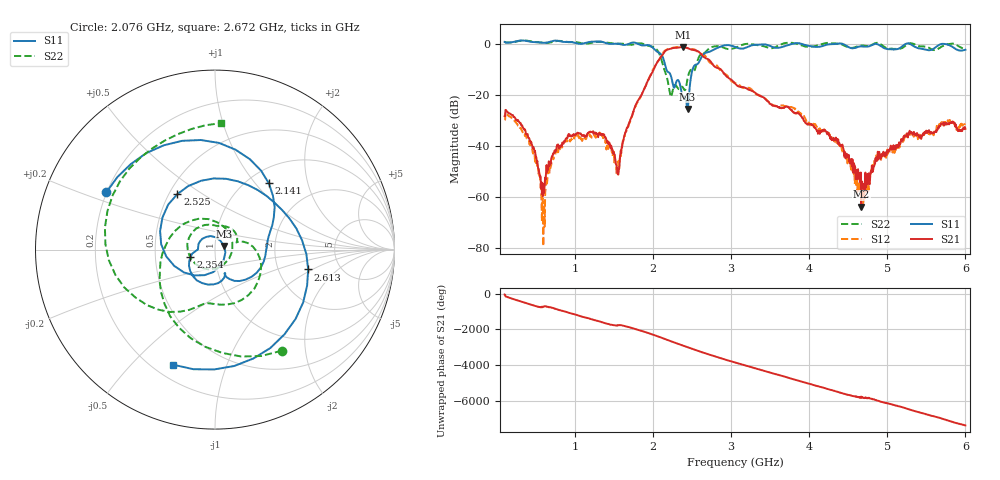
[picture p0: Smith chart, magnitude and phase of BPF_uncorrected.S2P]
!Created with skrf (http://scikit-rf.org).
# MHz S RI R 50.0
!freq ReS11 ImS11 ReS21 ImS21 ReS12 ImS12 ReS22 ImS22
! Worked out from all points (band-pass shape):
!   1001 points, 100 MHz to 6 GHz, reference 50 ohm
!   highest |S21| = -1.10 dB at 2.389 GHz (marker M1); lowest = -63.6 dB at 4.667 GHz (marker M2)
!   |S21| within 3 dB of the highest: 2.122 GHz to 2.622 GHz (500.1 MHz wide, 21.1 % of centre)
!   lowest |S11| = -25.4 dB at 2.442 GHz (marker M3), VSWR 1.11, Z = 55.2 + j2.3 ohm
!   |S11| at or under -10 dB: 2.174 GHz to 2.505 GHz (331.8 MHz wide, 14.2 % of centre)
!   |S22| runs from -20.6 to 1.5 dB; largest |S21 - S12| = 0.44
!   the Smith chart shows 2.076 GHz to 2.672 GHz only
!   S11 on the Smith chart (normalised r, x): 2.076 GHz: 0.20, +0.24; 2.141 GHz: 1.24, +1.18; 2.354 GHz: 0.76, -0.06; 2.525 GHz: 0.55, +0.40; 2.613 GHz: 2.95, -0.91; 2.672 GHz: 0.28, -0.66
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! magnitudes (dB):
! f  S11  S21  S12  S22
! 100 MHz  1.0  -28.1  -29.6  0.9
! 424.5 MHz  1.1  -37.9  -39.1  1.2
! 589.7 MHz  0.6  -59.5  -60.4  0.7
! 737.2 MHz  1.5  -41.9  -43.7  1.1
! 1.085 GHz  0.2  -35.6  -37.3  0.4
! 1.327 GHz  1.1  -35.5  -35.4  1.0
! 1.551 GHz  0.2  -51.0  -49.2  0.3
! 2.071 GHz  -3.2  -6.3  -6.4  -3.0
! 2.076 GHz  -3.3  -6.0  -6.1  -3.4
! 2.141 GHz  -6.5  -3.2  -2.8  -9.6
! 2.224 GHz  -11.9  -1.7  -1.5  -20.3
! 2.354 GHz  -16.9  -1.1  -1.0  -16.9
! 2.389 GHz  -20.5  -1.1  -1.1  -17.3
! 2.442 GHz  -25.4  -1.5  -1.5  -13.5
! 2.525 GHz  -8.6  -2.3  -1.9  -10.4
! 2.613 GHz  -5.5  -3.8  -3.7  -3.9
! 2.672 GHz  -3.3  -5.4  -4.7  -3.0
! 3.05 GHz  -1.0  -15.3  -15.1  -1.4
! 4.035 GHz  -0.8  -31.4  -31.2  -0.9
! 4.667 GHz  -0.8  -63.6  -57.0  -0.4
! 5.021 GHz  -1.9  -41.8  -42.2  -1.7
! 6 GHz  -2.1  -33.1  -31.4  -1.8
